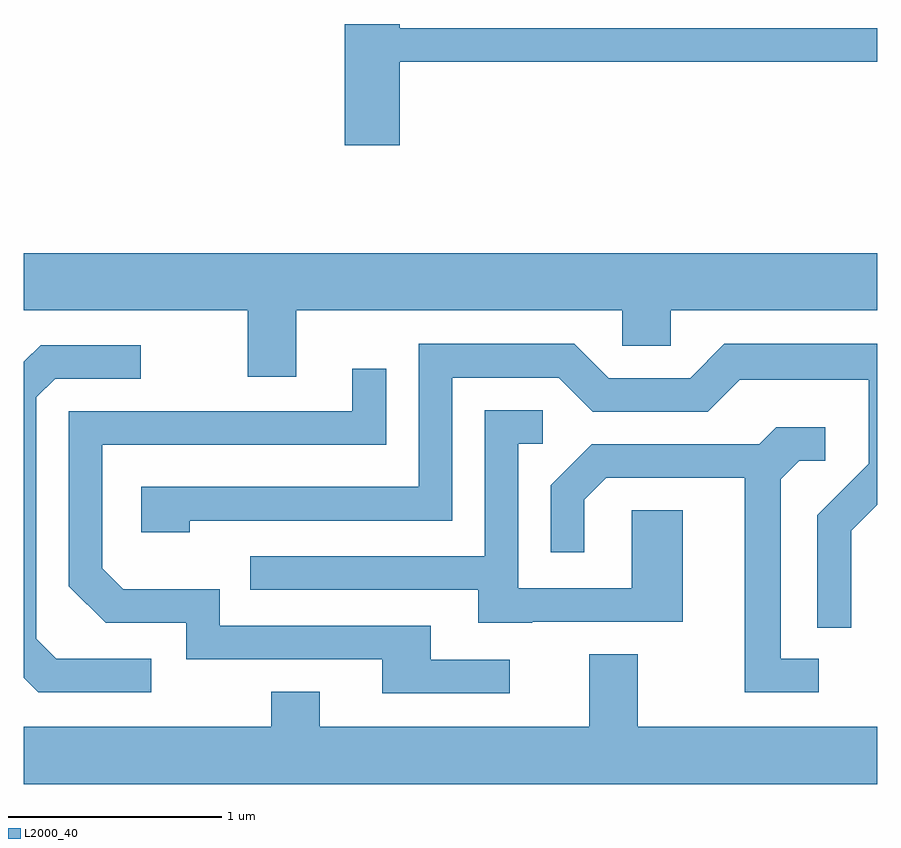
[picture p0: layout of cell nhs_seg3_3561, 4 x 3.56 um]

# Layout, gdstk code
import gdstk
lib = gdstk.Library(unit=1e-6, precision=1e-09)
def P(c, l, *ps):  # polygons
    for p in ps: c.add(gdstk.Polygon(p, *l))
L2000_40 = (2000, 40)

nhs_seg3_3561 = lib.new_cell('nhs_seg3_3561')
P(nhs_seg3_3561, L2000_40, [(291.374,1169.361),(293.611,1169.361),(293.611,1169.519),(291.374,1169.519),(291.374,1169.539),(291.116,1169.539),(291.116,1168.971),(291.374,1168.971)],
  [(290.889,1168.196),(292.416,1168.196),(292.416,1168.031),(292.644,1168.031),(292.644,1168.196),(293.611,1168.196),(293.611,1168.464),(289.611,1168.464),(289.611,1168.196),(290.661,1168.196),(290.661,1167.886),(290.889,1167.886)],
  [(293.489,1167.164),(293.611,1167.286),(293.611,1168.039),(292.894,1168.039),(292.734,1167.879),(292.352,1167.879),(292.192,1168.039),(291.461,1168.039),(291.461,1167.369),(290.161,1167.369),(290.161,1167.156),(290.389,1167.156),(290.389,1167.211),(291.619,1167.211),(291.619,1167.881),(292.119,1167.881),(292.279,1167.721),(292.817,1167.721),(292.967,1167.871),(293.571,1167.871),(293.571,1167.477),(293.331,1167.237),(293.331,1166.708),(293.489,1166.708)],
  [(290.208,1166.564),(289.762,1166.564),(289.669,1166.657),(289.669,1167.789),(289.757,1167.876),(290.158,1167.876),(290.158,1168.034),(289.689,1168.034),(289.611,1167.956),(289.611,1166.474),(289.679,1166.406),(290.208,1166.406)],
  [(291.888,1166.559),(291.519,1166.559),(291.519,1166.719),(290.529,1166.719),(290.529,1166.889),(290.077,1166.889),(289.979,1166.987),(289.979,1167.566),(291.309,1167.566),(291.309,1167.923),(291.151,1167.923),(291.151,1167.724),(289.821,1167.724),(289.821,1166.904),(289.994,1166.731),(290.371,1166.731),(290.371,1166.561),(291.291,1166.561),(291.291,1166.401),(291.888,1166.401)],
  [(291.995,1166.736),(292.699,1166.736),(292.699,1167.259),(292.461,1167.259),(292.461,1166.894),(291.929,1166.894),(291.929,1167.571),(292.043,1167.571),(292.043,1167.729),(291.771,1167.729),(291.771,1167.044),(290.673,1167.044),(290.673,1166.886),(291.741,1166.886),(291.741,1166.731),(291.995,1166.731)],
  [(293.338,1166.564),(293.159,1166.564),(293.159,1167.404),(293.247,1167.491),(293.368,1167.491),(293.368,1167.649),(293.139,1167.649),(293.059,1167.569),(292.274,1167.569),(292.081,1167.377),(292.081,1167.063),(292.239,1167.063),(292.239,1167.309),(292.342,1167.411),(292.991,1167.411),(292.991,1166.406),(293.338,1166.406)],
  [(293.611,1166.244),(292.489,1166.244),(292.489,1166.584),(292.261,1166.584),(292.261,1166.244),(290.999,1166.244),(290.999,1166.409),(290.771,1166.409),(290.771,1166.244),(289.611,1166.244),(289.611,1165.976),(293.611,1165.976)])

lib.write_gds('nhs_seg3_3561.gds')
